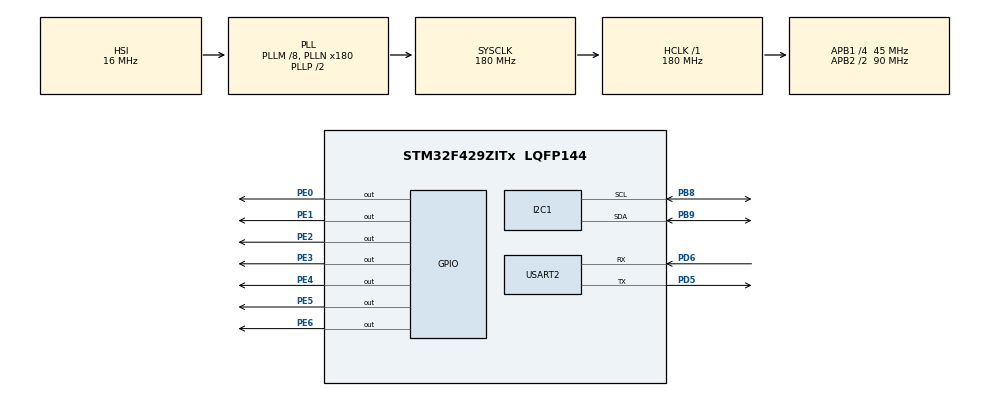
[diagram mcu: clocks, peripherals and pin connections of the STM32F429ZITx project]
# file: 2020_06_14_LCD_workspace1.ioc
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Mcu.Family=STM32F4
Mcu.Name=STM32F429ZITx
Mcu.Package=LQFP144
NVIC.PriorityGroup=NVIC_PRIORITYGROUP_4
PA13.Mode=Serial_Wire
PA13.Signal=SYS_JTMS-SWDIO
PA14.Mode=Serial_Wire
PA14.Signal=SYS_JTCK-SWCLK
PB8.GPIO_Pu=GPIO_PULLUP
PB8.Mode=I2C
PB8.Signal=I2C1_SCL
PB9.GPIO_Pu=GPIO_PULLUP
PB9.Mode=I2C
PB9.Signal=I2C1_SDA
PC14/OSC32_IN.Mode=LSE-External-Oscillator
PC14/OSC32_IN.Signal=RCC_OSC32_IN
PC15/OSC32_OUT.Mode=LSE-External-Oscillator
PC15/OSC32_OUT.Signal=RCC_OSC32_OUT
PD5.Mode=Asynchronous
PD5.Signal=USART2_TX
PD6.Mode=Asynchronous
PD6.Signal=USART2_RX
PE0.Signal=GPIO_Output
PE1.Signal=GPIO_Output
PE2.Signal=GPIO_Output
PE3.Signal=GPIO_Output
PE4.Signal=GPIO_Output
PE5.Signal=GPIO_Output
PE6.Signal=GPIO_Output
ProjectManager.HeapSize=0x200
ProjectManager.StackSize=0x400
ProjectManager.TargetToolchain=STM32CubeIDE
RCC.48MHZClocksFreq_Value=90000000
RCC.AHBFreq_Value=180000000
RCC.APB1CLKDivider=RCC_HCLK_DIV4
RCC.APB1Freq_Value=45000000
RCC.APB1TimFreq_Value=90000000
RCC.APB2CLKDivider=RCC_HCLK_DIV2
RCC.APB2Freq_Value=90000000
RCC.APB2TimFreq_Value=180000000
RCC.CortexFreq_Value=180000000
RCC.HCLKFreq_Value=180000000
RCC.HSE_VALUE=25000000
RCC.HSI_VALUE=16000000
RCC.PLLM=8
RCC.PLLN=180
RCC.RCC_RTC_Clock_Source=RCC_RTCCLKSOURCE_LSE
RCC.RCC_RTC_Clock_SourceVirtual=RCC_RTCCLKSOURCE_LSE
RCC.SYSCLKFreq_VALUE=180000000
RCC.SYSCLKSource=RCC_SYSCLKSOURCE_PLLCLK
RCC.VCOOutputFreq_Value=360000000
RTC.Date=15
RTC.Format=RTC_FORMAT_BIN
RTC.HourFormat=RTC_HOURFORMAT_12
RTC.Hours=12
RTC.Month=RTC_MONTH_JUNE
RTC.WeekDay=RTC_WEEKDAY_WEDNESDAY
RTC.Year=22
TIM2.Period=900
TIM2.Prescaler=1000
USART2.VirtualMode=VM_ASYNC
VP_RTC_VS_RTC_Activate.Mode=RTC_Enabled
VP_RTC_VS_RTC_Calendar.Mode=RTC_Calendar
VP_TIM2_VS_ClockSourceINT.Mode=Internal
board=custom

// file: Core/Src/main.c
/* USER CODE BEGIN Header */
/**
  ******************************************************************************
  * @file           : main.c
  * @brief          : Main program body
  ******************************************************************************
  * @attention
  *
  * Copyright (c) 2022 STMicroelectronics.
  * All rights reserved.
  *
  * This software is licensed under terms that can be found in the LICENSE file
  * in the root directory of this software component.
  * If no LICENSE file comes with this software, it is provided AS-IS.
  *
  ******************************************************************************
  */
/* USER CODE END Header */
#include "main.h"
#include "i2c.h"
#include "rtc.h"
#include "tim.h"
#include "usart.h"
#include "gpio.h"

/* USER CODE BEGIN Includes */
#include "string.h"
#include "stdio.h"
/* USER CODE END Includes */

/* USER CODE BEGIN PD */
#define LCD_ADDR (0x27 << 1)
#define PIN_RS    (1 << 0)
#define PIN_EN    (1 << 2)
#define BACKLIGHT (1 << 3)

#define LCD_DELAY_MS 5
/* USER CODE END PD */

/* USER CODE BEGIN PV */
  RTC_TimeTypeDef sTime = {0};
  RTC_DateTypeDef sDate = {0};
/* USER CODE END PV */

void SystemClock_Config(void);

/* USER CODE BEGIN 0 */
void I2C_Scan();
void loop();
void init();
void LCD_SendString(uint8_t lcd_addr, char *str);
void LCD_Init(uint8_t lcd_addr);
void LCD_SendCommand(uint8_t lcd_addr, uint8_t cmd);
void LCD_SendData(uint8_t lcd_addr, uint8_t data);
HAL_StatusTypeDef LCD_SendInternal(uint8_t lcd_addr, uint8_t data, uint8_t flags);
/* USER CODE END 0 */

int main(void)
{
  /* USER CODE BEGIN 1 */
  char temp[100];
  char ampm[2][3] = {"AM", "PM"};

  /* USER CODE END 1 */

  /* MCU Configuration--------------------------------------------------------*/

  /* Reset of all peripherals, Initializes the Flash interface and the Systick. */
  HAL_Init();

  /* Configure the system clock */
  SystemClock_Config();

  /* Initialize all configured peripherals */
  MX_GPIO_Init();
  MX_I2C1_Init();
  MX_RTC_Init();
  MX_USART2_UART_Init();
  MX_TIM2_Init();
  /* USER CODE BEGIN 2 */
/*  LCD_Init(LCD_ADDR);*/
  I2C_Scan();
  LCD_Init(LCD_ADDR);

/*  HAL_UART_Transmit(&huart2, (uint8_t*)temp, strlen(temp), 10);*/
  /* USER CODE END 2 */

  /* Infinite loop */
  while (1)
  {

    /* USER CODE BEGIN 3 */

	  HAL_RTC_GetDate(&hrtc, &sDate, RTC_FORMAT_BIN);
	  HAL_RTC_GetTime(&hrtc, &sTime, RTC_FORMAT_BIN);

	  sprintf(temp,"\r\n20%02d-%02d-%02d %s %02d:%02d:%02d", sDate.Year, sDate.Month,
	         sDate.Date, ampm[sTime.TimeFormat >> 6], sTime.Hours, sTime.Minutes,
	         sTime.Seconds);

	  HAL_UART_Transmit(&huart2, (uint8_t*)temp, strlen(temp), 1000);

  }
  /* USER CODE END 3 */
}

void SystemClock_Config(void)
{
  RCC_OscInitTypeDef RCC_OscInitStruct = {0};
  RCC_ClkInitTypeDef RCC_ClkInitStruct = {0};

  /** Configure the main internal regulator output voltage
  */
  __HAL_RCC_PWR_CLK_ENABLE();
  __HAL_PWR_VOLTAGESCALING_CONFIG(PWR_REGULATOR_VOLTAGE_SCALE1);

  /** Initializes the RCC Oscillators according to the specified parameters
  * in the RCC_OscInitTypeDef structure.
  */
  RCC_OscInitStruct.OscillatorType = RCC_OSCILLATORTYPE_HSI|RCC_OSCILLATORTYPE_LSE;
  RCC_OscInitStruct.LSEState = RCC_LSE_ON;
  RCC_OscInitStruct.HSIState = RCC_HSI_ON;
  RCC_OscInitStruct.HSICalibrationValue = RCC_HSICALIBRATION_DEFAULT;
  RCC_OscInitStruct.PLL.PLLState = RCC_PLL_ON;
  RCC_OscInitStruct.PLL.PLLSource = RCC_PLLSOURCE_HSI;
  RCC_OscInitStruct.PLL.PLLM = 8;
  RCC_OscInitStruct.PLL.PLLN = 180;
  RCC_OscInitStruct.PLL.PLLP = RCC_PLLP_DIV2;
  RCC_OscInitStruct.PLL.PLLQ = 4;
  if (HAL_RCC_OscConfig(&RCC_OscInitStruct) != HAL_OK)
  {
    Error_Handler();
  }

  /** Activate the Over-Drive mode
  */
  if (HAL_PWREx_EnableOverDrive() != HAL_OK)
  {
    Error_Handler();
  }

  /** Initializes the CPU, AHB and APB buses clocks
  */
  RCC_ClkInitStruct.ClockType = RCC_CLOCKTYPE_HCLK|RCC_CLOCKTYPE_SYSCLK
                              |RCC_CLOCKTYPE_PCLK1|RCC_CLOCKTYPE_PCLK2;
  RCC_ClkInitStruct.SYSCLKSource = RCC_SYSCLKSOURCE_PLLCLK;
  RCC_ClkInitStruct.AHBCLKDivider = RCC_SYSCLK_DIV1;
  RCC_ClkInitStruct.APB1CLKDivider = RCC_HCLK_DIV4;
  RCC_ClkInitStruct.APB2CLKDivider = RCC_HCLK_DIV2;

  if (HAL_RCC_ClockConfig(&RCC_ClkInitStruct, FLASH_LATENCY_5) != HAL_OK)
  {
    Error_Handler();
  }
}

/* USER CODE BEGIN 4 */

void I2C_Scan() {
    char info[] = "Scanning I2C bus...\r\n";
    HAL_UART_Transmit(&huart2, (uint8_t*)info, strlen(info), HAL_MAX_DELAY);

    HAL_StatusTypeDef res;
    for(uint16_t i = 0; i < 128; i++) {
        res = HAL_I2C_IsDeviceReady(&hi2c1, i << 1, 1, 10);
        if(res == HAL_OK) {
            char msg[64];
            snprintf(msg, sizeof(msg), "0x%02X", i);
            HAL_UART_Transmit(&huart2, (uint8_t*)msg, strlen(msg), HAL_MAX_DELAY);
        } else {
            HAL_UART_Transmit(&huart2, (uint8_t*)".", 1, HAL_MAX_DELAY);
        }
    }

    HAL_UART_Transmit(&huart2, (uint8_t*)"\r\n", 2, HAL_MAX_DELAY);
}

HAL_StatusTypeDef LCD_SendInternal(uint8_t lcd_addr, uint8_t data, uint8_t flags) {
    HAL_StatusTypeDef res;
    for(;;) {
        res = HAL_I2C_IsDeviceReady(&hi2c1, lcd_addr, 1, HAL_MAX_DELAY);
        if(res == HAL_OK)
            break;
    }

    uint8_t up = data & 0xF0;
    uint8_t lo = (data << 4) & 0xF0;

    uint8_t data_arr[4];
    data_arr[0] = up|flags|BACKLIGHT|PIN_EN;
    data_arr[1] = up|flags|BACKLIGHT;
    data_arr[2] = lo|flags|BACKLIGHT|PIN_EN;
    data_arr[3] = lo|flags|BACKLIGHT;

    res = HAL_I2C_Master_Transmit(&hi2c1, lcd_addr, data_arr, sizeof(data_arr), HAL_MAX_DELAY);
    HAL_Delay(LCD_DELAY_MS);
    return res;
}

void LCD_SendCommand(uint8_t lcd_addr, uint8_t cmd) {
    LCD_SendInternal(lcd_addr, cmd, 0);
}

void LCD_SendData(uint8_t lcd_addr, uint8_t data) {
    LCD_SendInternal(lcd_addr, data, PIN_RS);
}

void LCD_Init(uint8_t lcd_addr) {
    // 4-bit mode, 2 lines, 5x7 format
    LCD_SendCommand(lcd_addr, 0b00110000);
    // display & cursor home (keep this!)
    LCD_SendCommand(lcd_addr, 0b00000010);
    // display on, right shift, underline off, blink off
    LCD_SendCommand(lcd_addr, 0b00001100);
    // clear display (optional here)
    LCD_SendCommand(lcd_addr, 0b00000001);
}

void LCD_SendString(uint8_t lcd_addr, char *str) {
    while(*str) {
        LCD_SendData(lcd_addr, (uint8_t)(*str));
        str++;
    }
}

void init() {
    I2C_Scan();
    LCD_Init(LCD_ADDR);

    // set address to 0x00
    LCD_SendCommand(LCD_ADDR, 0b10000000);
    LCD_SendString(LCD_ADDR, " Using 1602 LCD");

    // set address to 0x40
    LCD_SendCommand(LCD_ADDR, 0b11000000);
    LCD_SendString(LCD_ADDR, "  over I2C bus");
}

void loop() {
    HAL_Delay(100);
}

/* USER CODE END 4 */

void Error_Handler(void)
{
  __disable_irq();
  while (1)
  {
  }
}
